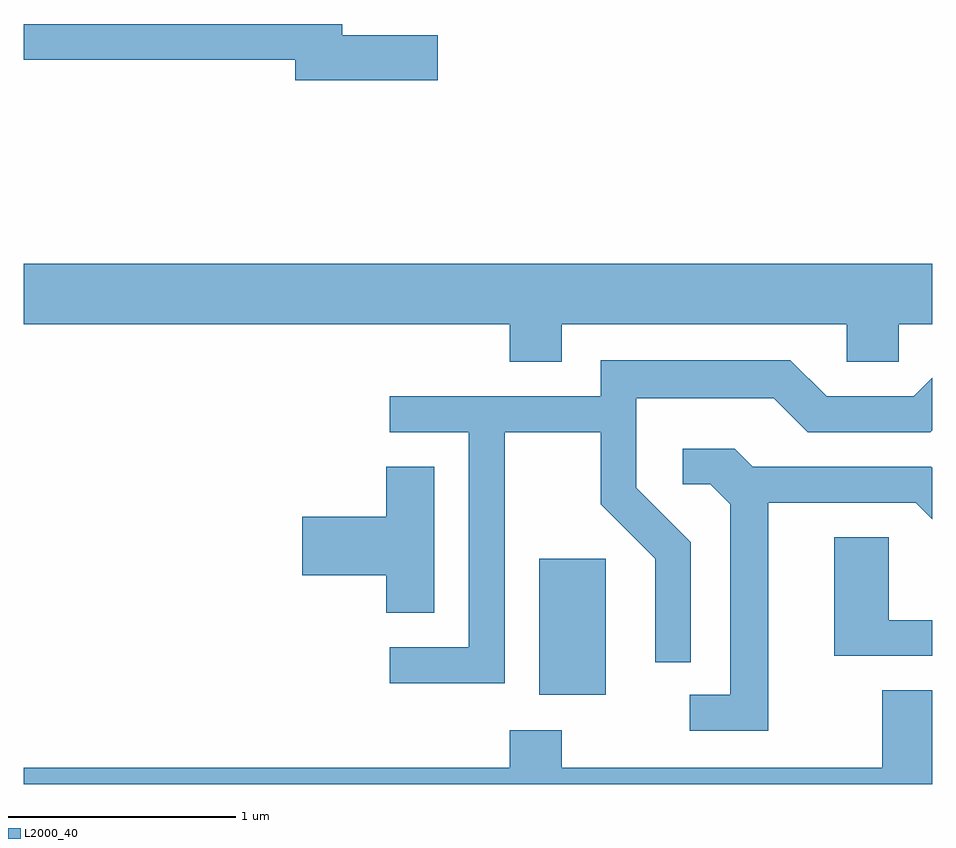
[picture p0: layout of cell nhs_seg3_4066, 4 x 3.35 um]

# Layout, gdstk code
import gdstk
lib = gdstk.Library(unit=1e-6, precision=1e-09)
def R(c, l, rs):  # rectangles x0, y0, x1, y1
    for r in rs: c.add(gdstk.rectangle(r[:2], r[2:], *l))
def P(c, l, *ps):  # polygons
    for p in ps: c.add(gdstk.Polygon(p, *l))
L2000_40 = (2000, 40)

nhs_seg3_4066 = lib.new_cell('nhs_seg3_4066')
R(nhs_seg3_4066, L2000_40, [(305.881,1224.286,306.174,1224.884)])
P(nhs_seg3_4066, L2000_40, [(305.434,1227.189),(305.014,1227.189),(305.014,1227.239),(303.611,1227.239),(303.611,1227.081),(304.806,1227.081),(304.806,1226.991),(305.434,1226.991)],
  [(305.979,1225.916),(307.236,1225.916),(307.236,1225.751),(307.464,1225.751),(307.464,1225.916),(307.611,1225.916),(307.611,1226.184),(303.611,1226.184),(303.611,1225.916),(305.751,1225.916),(305.751,1225.751),(305.979,1225.751)],
  [(305.729,1225.441),(306.151,1225.441),(306.151,1225.124),(306.391,1224.884),(306.391,1224.428),(306.549,1224.428),(306.549,1224.957),(306.309,1225.197),(306.309,1225.591),(306.914,1225.591),(307.064,1225.441),(307.602,1225.441),(307.611,1225.45),(307.611,1225.681),(307.529,1225.599),(307.147,1225.599),(306.987,1225.759),(306.151,1225.759),(306.151,1225.599),(305.223,1225.599),(305.223,1225.441),(305.571,1225.441),(305.571,1224.494),(305.223,1224.494),(305.223,1224.336),(305.729,1224.336)],
  [(306.889,1225.131),(307.539,1225.131),(307.611,1225.059),(307.611,1225.285),(307.607,1225.289),(306.822,1225.289),(306.742,1225.369),(306.513,1225.369),(306.513,1225.211),(306.634,1225.211),(306.721,1225.124),(306.721,1224.284),(306.543,1224.284),(306.543,1224.126),(306.889,1224.126)],
  [(305.419,1225.289),(305.206,1225.289),(305.206,1225.069),(304.836,1225.069),(304.836,1224.811),(305.206,1224.811),(305.206,1224.646),(305.419,1224.646)],
  [(307.611,1224.614),(307.419,1224.614),(307.419,1224.979),(307.181,1224.979),(307.181,1224.456),(307.611,1224.456)],
  [(307.611,1224.304),(307.391,1224.304),(307.391,1223.964),(305.979,1223.964),(305.979,1224.129),(305.751,1224.129),(305.751,1223.964),(303.611,1223.964),(303.611,1223.892),(307.611,1223.892)])

lib.write_gds('nhs_seg3_4066.gds')
